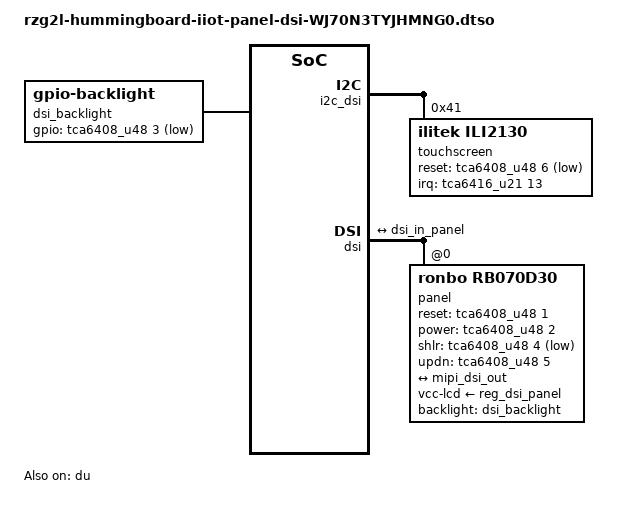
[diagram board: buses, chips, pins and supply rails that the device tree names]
// SPDX-License-Identifier: (GPL-2.0-only OR BSD-2-Clause)
/*
 * Copyright 2025 Josua Mayer <josua@solid-run.com>
 *
 * Overlay for enabling HummingBoard IIoT MIPI-DSI connector
 * with Winstar WJ70N3TYJHMNG0 panel.
 */

/dts-v1/;
/plugin/;

#include <dt-bindings/gpio/gpio.h>
#include <dt-bindings/interrupt-controller/irq.h>

&{/} {
	dsi_backlight: dsi-backlight {
		compatible = "gpio-backlight";
		gpios = <&tca6408_u48 3 GPIO_ACTIVE_LOW>;
	};
};

&i2c_dsi {
	#address-cells = <1>;
	#size-cells = <0>;

	touchscreen@41 {
		compatible = "ilitek,ili2130";
		reg = <0x41>;
		/*
		 * Touchscreen fires short active-low pulses which level trigger
		 * on i2c gpio expander can miss. Trigger on falling edge instead.
		 */
		interrupts-extended = <&tca6416_u21 13 IRQ_TYPE_EDGE_FALLING>;
		reset-gpios = <&tca6408_u48 6 GPIO_ACTIVE_LOW>;
	};
};

&dsi {
	#address-cells = <1>;
	#size-cells = <0>;
	status = "okay";

	panel@0 {
		/* This is a Winstar panel, but the ronbo panel uses same controls. */
		compatible = "ronbo,rb070d30";
		reg = <0>;
		/* reset is active-low but driver inverts it internally */
		reset-gpios = <&tca6408_u48 1 GPIO_ACTIVE_HIGH>;
		backlight = <&dsi_backlight>;
		power-gpios = <&tca6408_u48 2 GPIO_ACTIVE_HIGH>;
		shlr-gpios = <&tca6408_u48 4 GPIO_ACTIVE_LOW>;
		updn-gpios = <&tca6408_u48 5 GPIO_ACTIVE_HIGH>;
		vcc-lcd-supply = <&reg_dsi_panel>;

		port {
			dsi_in_panel: endpoint {
				remote-endpoint = <&mipi_dsi_out>;
			};
		};
	};

	ports {
		#address-cells = <1>;
		#size-cells = <0>;

		port@1 {
			reg = <1>;

			mipi_dsi_out: endpoint {
				data-lanes = <1 2 3 4>;
				remote-endpoint = <&dsi_in_panel>;
			};
		};
	};
};

&du {
	status = "okay";
};
